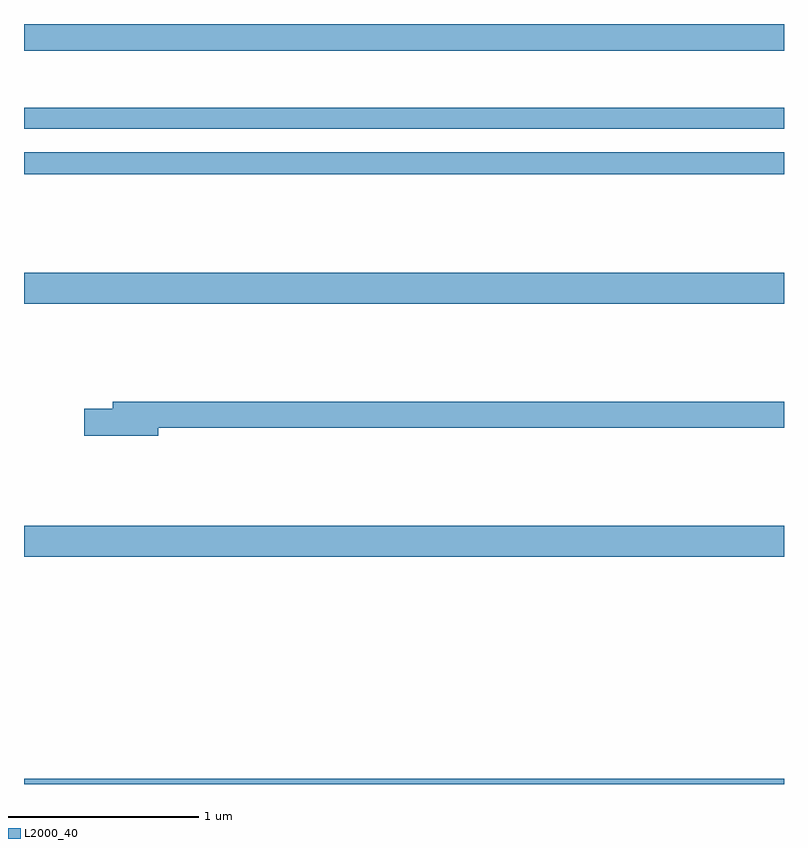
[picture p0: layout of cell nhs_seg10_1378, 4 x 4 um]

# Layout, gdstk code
import gdstk
lib = gdstk.Library(unit=1e-6, precision=1e-09)
def R(c, l, rs):  # rectangles x0, y0, x1, y1
    for r in rs: c.add(gdstk.rectangle(r[:2], r[2:], *l))
def P(c, l, *ps):  # polygons
    for p in ps: c.add(gdstk.Polygon(p, *l))
L2000_40 = (2000, 40)

nhs_seg10_1378 = lib.new_cell('nhs_seg10_1378')
R(nhs_seg10_1378, L2000_40, [(183,1252.5,187,1252.528), (183,1253.696,187,1253.86), (183,1255.028,187,1255.192), (183,1255.708,187,1255.824), (183,1255.95,187,1256.059), (183,1256.36,187,1256.5)])
P(nhs_seg10_1378, L2000_40, [(183.706,1254.376),(187,1254.376),(187,1254.512),(183.467,1254.512),(183.467,1254.476),(183.318,1254.476),(183.318,1254.334),(183.706,1254.334)])

lib.write_gds('nhs_seg10_1378.gds')
